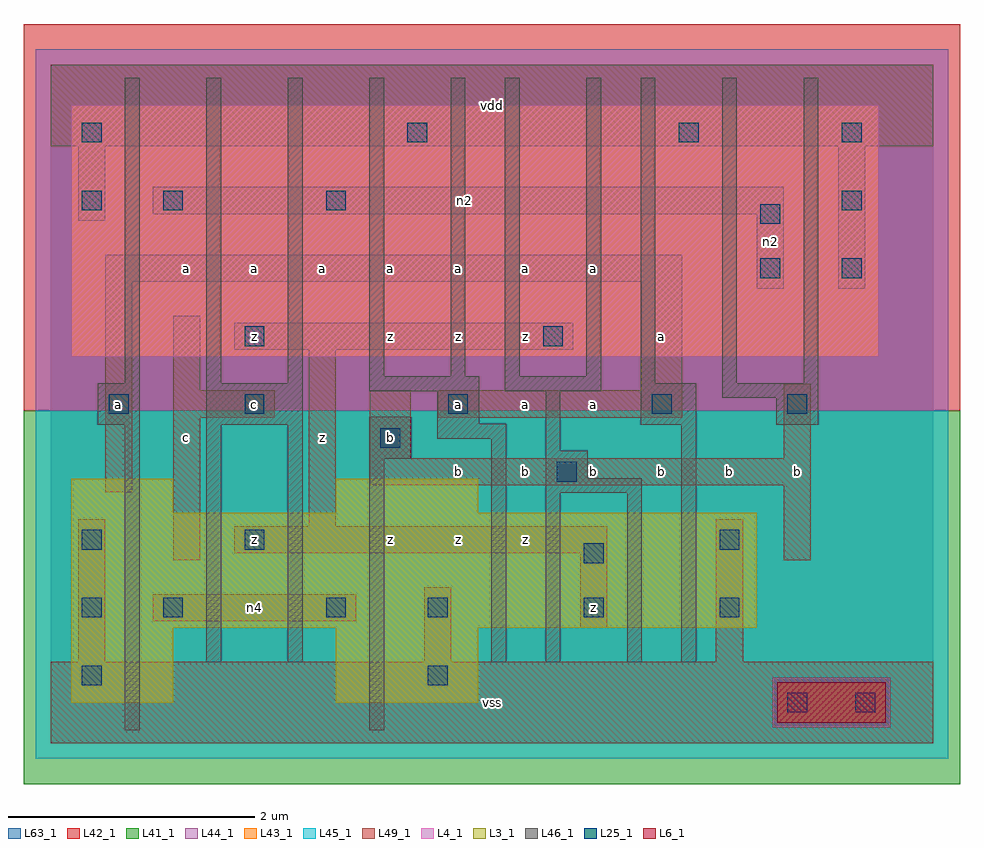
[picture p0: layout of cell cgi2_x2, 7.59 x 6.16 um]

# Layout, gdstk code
import gdstk
lib = gdstk.Library(unit=1e-6, precision=1e-09)
def R(c, l, rs):  # rectangles x0, y0, x1, y1
    for r in rs: c.add(gdstk.rectangle(r[:2], r[2:], *l))
def A(c, l, x, y, w, h, nx, ny, dx, dy):  # array of equal rectangles
    R(c, l, [(x+i*dx, y+j*dy, x+i*dx+w, y+j*dy+h) for i in range(nx) for j in range(ny)])
L3_1 = (3, 1)
L4_1 = (4, 1)
L6_1 = (6, 1)
L25_1 = (25, 1)
L41_1 = (41, 1)
L42_1 = (42, 1)
L43_1 = (43, 1)
L44_1 = (44, 1)
L45_1 = (45, 1)
L46_1 = (46, 1)
L49_1 = (49, 1)
L63_1 = (63, 1)

cgi2_x2 = lib.new_cell('cgi2_x2')
R(cgi2_x2, L3_1, [(0.165,0.33,0.99,0.935), (2.31,0.33,3.465,0.935), (0.165,0.935,5.72,1.87), (0.165,1.87,0.99,2.145), (2.31,1.87,3.465,2.145)])
R(cgi2_x2, L4_1, [(0.165,3.135,6.71,5.17)])
R(cgi2_x2, L6_1, [(5.885,0.165,6.765,0.495)])
A(cgi2_x2, L25_1, 0.25, 0.47, 0.16, 0.16, 1, 3, 0, 0.55)
A(cgi2_x2, L25_1, 1.57, 2.67, 0.16, 0.16, 3, 1, 1.65, 0)
A(cgi2_x2, L25_1, 6.41, 3.77, 0.16, 0.16, 1, 3, 0, 0.55)
R(cgi2_x2, L25_1, [(5.97,0.25,6.13,0.41), (6.52,0.25,6.68,0.41), (3.055,0.47,3.215,0.63), (0.91,1.02,1.07,1.18), (2.23,1.02,2.39,1.18), (3.055,1.02,3.215,1.18), (4.32,1.02,4.48,1.18), (5.42,1.02,5.58,1.18), (4.32,1.46,4.48,1.62), (1.57,1.57,1.73,1.73), (5.42,1.57,5.58,1.73), (4.1,2.12,4.26,2.28), (2.67,2.395,2.83,2.555), (0.47,2.67,0.63,2.83), (5.97,2.67,6.13,2.83), (1.57,3.22,1.73,3.38), (3.99,3.22,4.15,3.38), (5.75,3.77,5.91,3.93), (5.75,4.21,5.91,4.37), (0.25,4.32,0.41,4.48), (0.91,4.32,1.07,4.48), (2.23,4.32,2.39,4.48), (0.25,4.87,0.41,5.03), (2.89,4.87,3.05,5.03), (5.09,4.87,5.25,5.03)])
R(cgi2_x2, L41_1, [(-0.22,-0.33,7.37,2.695)])
R(cgi2_x2, L42_1, [(-0.22,2.695,7.37,5.83)])
R(cgi2_x2, L43_1, [(5.885,0.165,6.765,0.495), (0.165,0.33,0.99,0.935), (2.31,0.33,3.465,0.935), (0.165,0.935,5.72,1.87), (0.165,1.87,0.99,2.145), (2.31,1.87,3.465,2.145), (0.165,3.135,6.71,5.17)])
R(cgi2_x2, L44_1, [(5.845,0.125,6.805,0.535), (-0.125,2.695,7.275,5.625)])
R(cgi2_x2, L45_1, [(-0.125,-0.125,7.275,0.125), (-0.125,0.125,5.845,0.535), (6.805,0.125,7.275,0.535), (-0.125,0.535,7.275,2.695)])
A(cgi2_x2, L46_1, 0.6, 2.92, 0.12, 2.475, 3, 1, 0.66, 0)
A(cgi2_x2, L46_1, 4.78, 2.92, 0.12, 2.475, 3, 1, 0.66, 0)
R(cgi2_x2, L46_1, [(0.6,0.105,0.72,2.58), (2.58,0.105,2.7,2.305), (1.26,0.655,1.38,2.58), (1.92,0.655,2.04,2.58), (3.57,0.655,3.69,2.47), (4.01,0.655,4.13,2.03), (4.67,0.655,4.79,2.03), (5.11,0.655,5.23,2.58), (4.01,2.03,4.79,2.15), (4.01,2.15,4.35,2.37), (2.58,2.305,2.92,2.645), (4.01,2.37,4.13,2.855), (3.13,2.47,3.69,2.59), (0.38,2.58,0.72,2.92), (1.26,2.58,2.04,2.92), (4.78,2.58,5.23,2.92), (5.88,2.58,6.22,2.8), (3.13,2.59,3.47,2.855), (5.44,2.8,6.22,2.92), (2.58,2.855,3.47,2.975), (3.68,2.855,4.46,2.975), (2.58,2.975,2.7,5.395), (3.24,2.975,3.36,5.395), (3.68,2.975,3.8,5.395), (4.34,2.975,4.46,5.395)])
R(cgi2_x2, L49_1, [(0,0,7.15,0.66), (0.22,0.66,0.44,1.815), (3.025,0.66,3.245,1.265), (5.39,0.66,5.61,1.815), (4.29,0.935,4.51,1.54), (0.825,0.99,2.475,1.21), (0.99,1.485,1.21,2.64), (5.94,1.485,6.16,2.09), (1.485,1.54,4.51,1.76), (2.09,1.76,2.31,3.19), (0.44,2.035,0.66,3.74), (2.585,2.09,6.16,2.31), (2.585,2.31,2.915,2.86), (5.94,2.31,6.16,2.915), (0.99,2.64,1.815,2.86), (3.135,2.64,5.115,2.86), (0.99,2.86,1.21,3.465), (4.785,2.86,5.115,3.74), (1.485,3.19,4.235,3.41), (5.72,3.685,5.94,4.29), (6.38,3.685,6.6,4.84), (0.44,3.74,5.115,3.96), (0.22,4.235,0.44,4.84), (0.825,4.29,5.94,4.51), (0,4.84,7.15,5.5)])
R(cgi2_x2, L63_1, [(0,0,7.15,5.5)])
cgi2_x2.add(gdstk.Label('c', (1.1,2.475), layer=49, texttype=1))
cgi2_x2.add(gdstk.Label('a', (0.55,2.75), layer=49, texttype=1))
cgi2_x2.add(gdstk.Label('a', (0.55,2.75), layer=49, texttype=1))
cgi2_x2.add(gdstk.Label('c', (1.1,2.475), layer=49, texttype=1))
cgi2_x2.add(gdstk.Label('a', (1.1,3.85), layer=49, texttype=1))
cgi2_x2.add(gdstk.Label('a', (1.1,3.85), layer=49, texttype=1))
cgi2_x2.add(gdstk.Label('n4', (1.65,1.1), layer=49, texttype=1))
cgi2_x2.add(gdstk.Label('z', (1.65,1.65), layer=49, texttype=1))
cgi2_x2.add(gdstk.Label('z', (1.65,1.65), layer=49, texttype=1))
cgi2_x2.add(gdstk.Label('c', (1.65,2.75), layer=49, texttype=1))
cgi2_x2.add(gdstk.Label('z', (2.2,2.475), layer=49, texttype=1))
cgi2_x2.add(gdstk.Label('z', (2.2,2.475), layer=49, texttype=1))
cgi2_x2.add(gdstk.Label('c', (1.65,2.75), layer=49, texttype=1))
cgi2_x2.add(gdstk.Label('z', (1.65,3.3), layer=49, texttype=1))
cgi2_x2.add(gdstk.Label('z', (1.65,3.3), layer=49, texttype=1))
cgi2_x2.add(gdstk.Label('a', (2.2,3.85), layer=49, texttype=1))
cgi2_x2.add(gdstk.Label('a', (1.65,3.85), layer=49, texttype=1))
cgi2_x2.add(gdstk.Label('a', (1.65,3.85), layer=49, texttype=1))
cgi2_x2.add(gdstk.Label('a', (2.2,3.85), layer=49, texttype=1))
cgi2_x2.add(gdstk.Label('vss', (3.575,0.33), layer=49, texttype=1))
cgi2_x2.add(gdstk.Label('vss', (3.575,0.33), layer=49, texttype=1))
cgi2_x2.add(gdstk.Label('z', (2.75,1.65), layer=49, texttype=1))
cgi2_x2.add(gdstk.Label('z', (2.75,1.65), layer=49, texttype=1))
cgi2_x2.add(gdstk.Label('z', (3.85,1.65), layer=49, texttype=1))
cgi2_x2.add(gdstk.Label('z', (3.3,1.65), layer=49, texttype=1))
cgi2_x2.add(gdstk.Label('z', (3.85,1.65), layer=49, texttype=1))
cgi2_x2.add(gdstk.Label('z', (3.3,1.65), layer=49, texttype=1))
cgi2_x2.add(gdstk.Label('b', (3.3,2.2), layer=49, texttype=1))
cgi2_x2.add(gdstk.Label('b', (3.85,2.2), layer=49, texttype=1))
cgi2_x2.add(gdstk.Label('b', (3.3,2.2), layer=49, texttype=1))
cgi2_x2.add(gdstk.Label('b', (3.85,2.2), layer=49, texttype=1))
cgi2_x2.add(gdstk.Label('b', (2.75,2.475), layer=49, texttype=1))
cgi2_x2.add(gdstk.Label('b', (2.75,2.475), layer=49, texttype=1))
cgi2_x2.add(gdstk.Label('a', (3.85,2.75), layer=49, texttype=1))
cgi2_x2.add(gdstk.Label('a', (3.3,2.75), layer=49, texttype=1))
cgi2_x2.add(gdstk.Label('a', (3.85,2.75), layer=49, texttype=1))
cgi2_x2.add(gdstk.Label('a', (3.3,2.75), layer=49, texttype=1))
cgi2_x2.add(gdstk.Label('z', (3.85,3.3), layer=49, texttype=1))
cgi2_x2.add(gdstk.Label('z', (3.3,3.3), layer=49, texttype=1))
cgi2_x2.add(gdstk.Label('z', (3.3,3.3), layer=49, texttype=1))
cgi2_x2.add(gdstk.Label('z', (3.85,3.3), layer=49, texttype=1))
cgi2_x2.add(gdstk.Label('z', (2.75,3.3), layer=49, texttype=1))
cgi2_x2.add(gdstk.Label('z', (2.75,3.3), layer=49, texttype=1))
cgi2_x2.add(gdstk.Label('a', (2.75,3.85), layer=49, texttype=1))
cgi2_x2.add(gdstk.Label('a', (2.75,3.85), layer=49, texttype=1))
cgi2_x2.add(gdstk.Label('a', (3.85,3.85), layer=49, texttype=1))
cgi2_x2.add(gdstk.Label('a', (3.3,3.85), layer=49, texttype=1))
cgi2_x2.add(gdstk.Label('a', (3.3,3.85), layer=49, texttype=1))
cgi2_x2.add(gdstk.Label('a', (3.85,3.85), layer=49, texttype=1))
cgi2_x2.add(gdstk.Label('vdd', (3.575,5.17), layer=49, texttype=1))
cgi2_x2.add(gdstk.Label('vdd', (3.575,5.17), layer=49, texttype=1))
cgi2_x2.add(gdstk.Label('z', (4.4,1.1), layer=49, texttype=1))
cgi2_x2.add(gdstk.Label('z', (4.4,1.1), layer=49, texttype=1))
cgi2_x2.add(gdstk.Label('b', (5.5,2.2), layer=49, texttype=1))
cgi2_x2.add(gdstk.Label('b', (4.95,2.2), layer=49, texttype=1))
cgi2_x2.add(gdstk.Label('b', (4.95,2.2), layer=49, texttype=1))
cgi2_x2.add(gdstk.Label('b', (5.5,2.2), layer=49, texttype=1))
cgi2_x2.add(gdstk.Label('b', (4.4,2.2), layer=49, texttype=1))
cgi2_x2.add(gdstk.Label('b', (4.4,2.2), layer=49, texttype=1))
cgi2_x2.add(gdstk.Label('a', (4.4,2.75), layer=49, texttype=1))
cgi2_x2.add(gdstk.Label('a', (4.4,2.75), layer=49, texttype=1))
cgi2_x2.add(gdstk.Label('a', (4.95,3.3), layer=49, texttype=1))
cgi2_x2.add(gdstk.Label('a', (4.95,3.3), layer=49, texttype=1))
cgi2_x2.add(gdstk.Label('a', (4.4,3.85), layer=49, texttype=1))
cgi2_x2.add(gdstk.Label('a', (4.4,3.85), layer=49, texttype=1))
cgi2_x2.add(gdstk.Label('b', (6.05,2.2), layer=49, texttype=1))
cgi2_x2.add(gdstk.Label('b', (6.05,2.2), layer=49, texttype=1))
cgi2_x2.add(gdstk.Label('n2', (5.83,4.07), layer=49, texttype=1))
cgi2_x2.add(gdstk.Label('n2', (3.355,4.4), layer=49, texttype=1))

lib.write_gds('cgi2_x2.gds')
